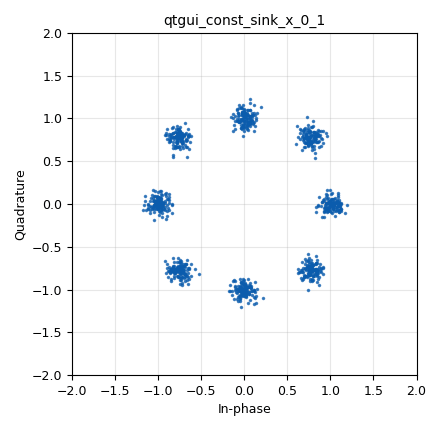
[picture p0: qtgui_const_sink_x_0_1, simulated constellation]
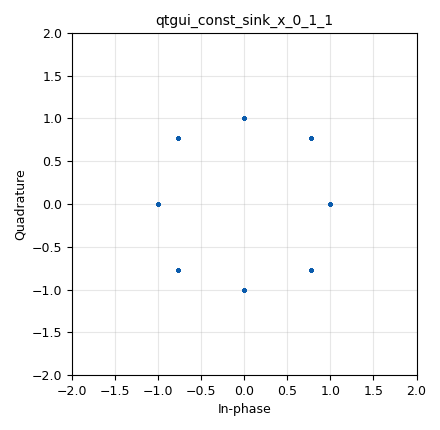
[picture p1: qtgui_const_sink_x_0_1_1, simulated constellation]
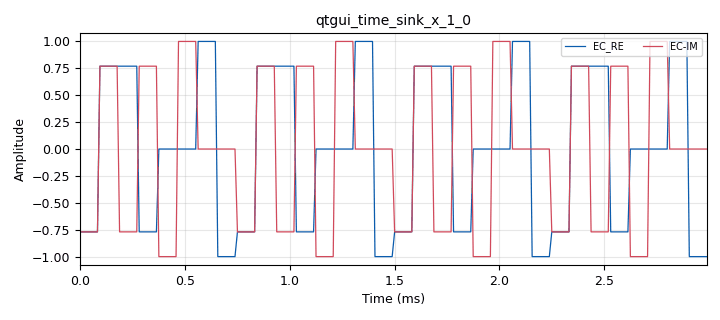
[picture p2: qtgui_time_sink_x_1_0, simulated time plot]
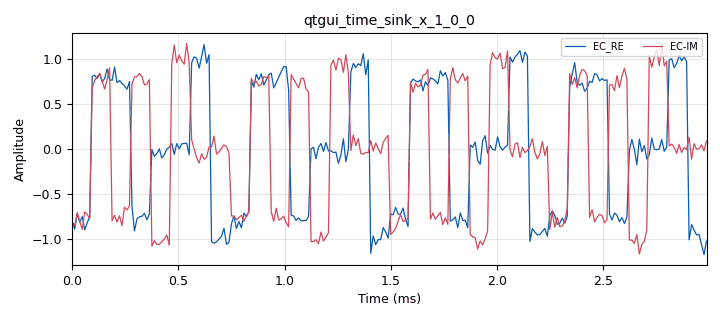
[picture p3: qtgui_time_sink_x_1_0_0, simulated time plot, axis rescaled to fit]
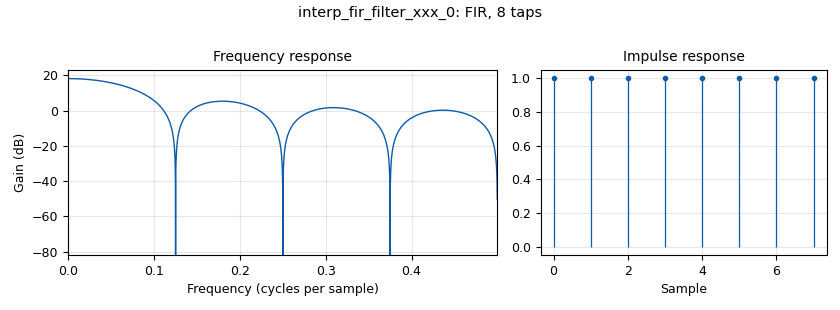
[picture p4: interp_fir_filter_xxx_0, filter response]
options:
  parameters:
    author: nikod
    generate_options: qt_gui
    id: Modulation
    output_language: python
    title: Cualquier_Modulacion
  states: {}

blocks:
- name: Constelacion
  id: variable
  parameters:
    value: (-0.77-0.77j,-1.0j,0.77-0.77j, 1.0, 0.77+0.77j, 1.0j, -0.77 + 0.77j,-1 )
  states: {}
- name: Constelacion
  id: variable
  parameters:
    value: ( 1,1j,-1,-1j )
  states: {state: disabled}
- name: M
  id: variable
  parameters:
    value: '8'
  states: {}
- name: Nbps
  id: variable
  parameters:
    value: int(math.log(M,2))
  states: {}
- name: Rb
  id: variable
  parameters:
    value: '32000'
  states: {}
- name: Rs
  id: variable
  parameters:
    value: Rb/Nbps
  states: {}
- name: Samp_Rate
  id: variable
  parameters:
    value: Rs*Sps
  states: {}
- name: Sps
  id: variable
  parameters:
    value: len(h)
  states: {}
- name: h
  id: variable
  parameters:
    value: (1.,1.,1.,1.,1.,1.,1.,1.)
  states: {}
- name: analog_noise_source_x_0
  id: analog_noise_source_x
  parameters:
    amp: '0.1'
    noise_type: analog.GR_GAUSSIAN
    seed: '0'
    type: complex
  states: {}
- name: analog_random_source_x_0
  id: analog_random_source_x
  parameters:
    max: '2'
    min: '0'
    num_samps: '1000'
    repeat: 'True'
    type: byte
  states: {state: disabled}
- name: blocks_add_xx_0
  id: blocks_add_xx
  parameters:
    type: complex
  states: {}
- name: blocks_repack_bits_bb_0
  id: blocks_repack_bits_bb
  parameters:
    endianness: gr.GR_LSB_FIRST
    k: '1'
    l: Nbps
  states: {}
- name: blocks_vector_source_x_0
  id: blocks_vector_source_x
  parameters:
    repeat: 'True'
    type: byte
    vector: (0,0,0,0,0,1,0,1,0,0,1,1,1,0,0,1,0,1,1,1,0,1,1,1)
  states: {}
- name: digital_chunks_to_symbols_xx_0
  id: digital_chunks_to_symbols_xx
  parameters:
    dimension: '1'
    in_type: byte
    out_type: complex
    symbol_table: Constelacion
  states: {}
- name: import_0
  id: import
  parameters:
    imports: import math
  states: {}
- name: interp_fir_filter_xxx_0
  id: interp_fir_filter_xxx
  parameters:
    interp: Sps
    taps: h
    type: ccc
  states: {}
- name: qtgui_const_sink_x_0_1
  id: qtgui_const_sink_x
  parameters:
    size: '1024'
    type: complex
    width1: '3'
  states: {}
- name: qtgui_const_sink_x_0_1_0
  id: qtgui_const_sink_x
  parameters:
    size: '1024'
    type: complex
    width1: '3'
  states: {state: disabled}
- name: qtgui_const_sink_x_0_1_1
  id: qtgui_const_sink_x
  parameters:
    size: '1024'
    type: complex
    width1: '3'
  states: {}
- name: qtgui_freq_sink_x_0
  id: qtgui_freq_sink_x
  parameters:
    average: '0.05'
    bw: Samp_Rate
    fc: '0'
    fftsize: '1024'
    type: complex
  states: {state: disabled}
- name: qtgui_time_sink_x_1_0
  id: qtgui_time_sink_x
  parameters:
    color1: dark blue
    label1: EC_RE
    label2: EC-IM
    size: 32*Sps
    srate: Samp_Rate
    type: complex
  states: {}
- name: qtgui_time_sink_x_1_0_0
  id: qtgui_time_sink_x
  parameters:
    color1: dark blue
    label1: EC_RE
    label2: EC-IM
    size: 32*Sps
    srate: Samp_Rate
    type: complex
  states: {}

connections:
- [analog_noise_source_x_0, '0', blocks_add_xx_0, '1']
- [analog_noise_source_x_0, '0', qtgui_const_sink_x_0_1_0, '0']
- [analog_random_source_x_0, '0', blocks_repack_bits_bb_0, '0']
- [blocks_add_xx_0, '0', qtgui_const_sink_x_0_1, '0']
- [blocks_add_xx_0, '0', qtgui_time_sink_x_1_0_0, '0']
- [blocks_repack_bits_bb_0, '0', digital_chunks_to_symbols_xx_0, '0']
- [blocks_vector_source_x_0, '0', blocks_repack_bits_bb_0, '0']
- [digital_chunks_to_symbols_xx_0, '0', interp_fir_filter_xxx_0, '0']
- [interp_fir_filter_xxx_0, '0', blocks_add_xx_0, '0']
- [interp_fir_filter_xxx_0, '0', qtgui_const_sink_x_0_1_1, '0']
- [interp_fir_filter_xxx_0, '0', qtgui_freq_sink_x_0, '0']
- [interp_fir_filter_xxx_0, '0', qtgui_time_sink_x_1_0, '0']

metadata:
  file_format: 1
  grc_version: 3.10.10.0
